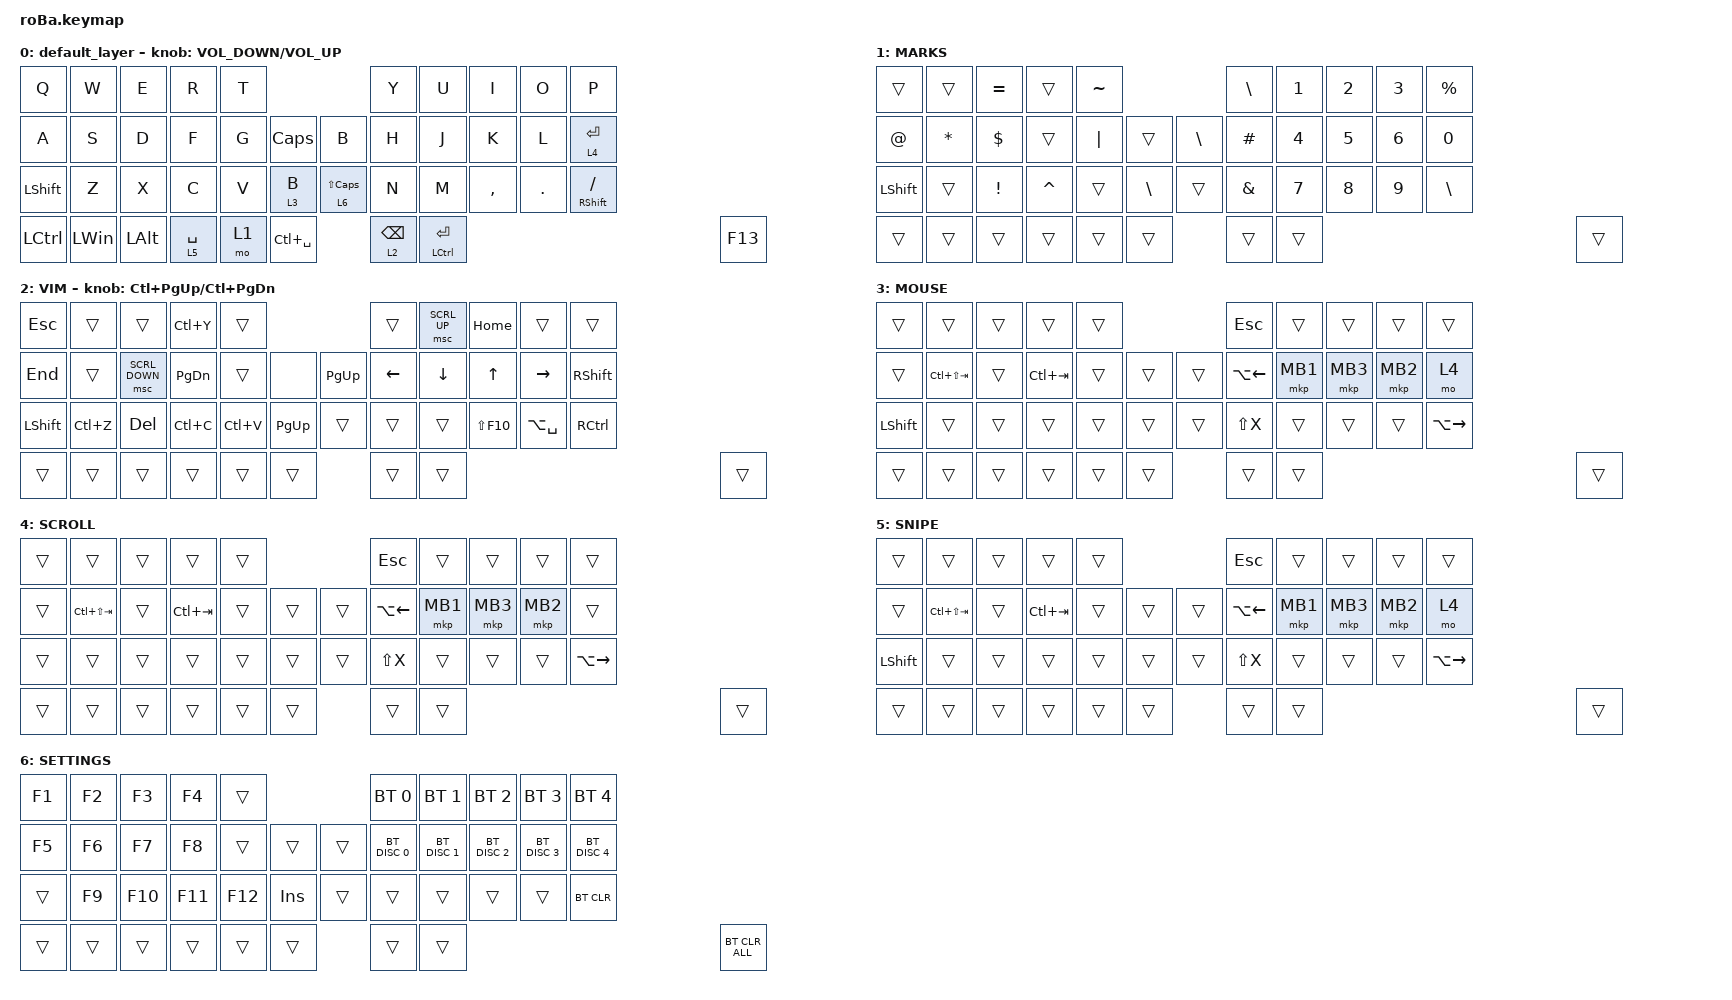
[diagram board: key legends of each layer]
#include <input/processors.dtsi>
#include <behaviors.dtsi>
#include <dt-bindings/zmk/bt.h>
#include <dt-bindings/zmk/keys.h>
#include <dt-bindings/zmk/pointing.h>

#define ZMK_POINTING_DEFAULT_SCRL_VAL 20  // default: 10, キーボードでのホイールスクロール量
#define NUM 1
#define MOUSE 3
#define SCROLL 4
#define SNIPE 5

&mt { flavor = "hold-preferred"; };

&mkp_input_listener { input-processors = <&zip_temp_layer MOUSE 150>; };

/ {
    combos {
        compatible = "zmk,combos";

        tab {
            bindings = <&kp TAB>;
            key-positions = <11 12>;
        };

        shift_tab {
            bindings = <&kp LS(TAB)>;
            key-positions = <12 13>;
        };

        esc {
            bindings = <&kp ESC>;
            key-positions = <1 10>;
        };

        minus {
            bindings = <&kp MINUS>;
            key-positions = <7 8>;
        };

        equal {
            bindings = <&kp EQUAL>;
            key-positions = <8 9>;
        };

        singlequote {
            bindings = <&kp SINGLE_QUOTE>;
            key-positions = <32 31>;
        };

        grave {
            bindings = <&kp GRAVE>;
            key-positions = <11 13>;
        };

        left_bracket {
            bindings = <&kp LEFT_BRACKET>;
            key-positions = <18 7>;
        };

        right_bracket {
            bindings = <&kp RIGHT_BRACKET>;
            key-positions = <18 19>;
        };

        ctrl+w {
            bindings = <&kp LC(W)>;
            key-positions = <30 32>;
        };

        ctrl+w2 {
            bindings = <&kp LC(W)>;
            key-positions = <26 24>;
        };

        select_all {
            bindings = <&kp LC(A)>;
            key-positions = <23 24>;
        };

        unselect_all {
            bindings = <&kp LC(LS(A))>;
            key-positions = <24 25>;
        };

        semi-coron {
            bindings = <&kp SEMI>;
            key-positions = <20 19>;
        };

        left_parentheses {
            bindings = <&kp LEFT_PARENTHESIS>;
            key-positions = <18 8>;
        };

        right_parentheses {
            bindings = <&kp RIGHT_PARENTHESIS>;
            key-positions = <18 20>;
        };

        mouse_buttons {
            bindings = <&none>;
            key-positions = <17 18 19 20 6 8 5 29 33 22 42>;
        };
    };

    macros {
        to_layer_0: to_layer_0 {
            compatible = "zmk,behavior-macro-one-param";
            #binding-cells = <1>;
            bindings = <&to 0 &macro_param_1to1 &kp MACRO_PLACEHOLDER>;
            label = "TO_LAYER_0";
        };

        exit_AML: exit_AML {
            compatible = "zmk,behavior-macro";
            wait-ms = <0>;
            tap-ms = <0>;
            #binding-cells = <0>;
            bindings = <&tog_off MOUSE>;
            label = "exit_AML";
        };

        kp_exit_AML: kp_exit_AML {
            compatible = "zmk,behavior-macro-one-param";
            wait-ms = <0>;
            tap-ms = <0>;
            #binding-cells = <1>;
            bindings = <&macro_param_1to1 &kp MACRO_PLACEHOLDER &exit_AML>;
            label = "KP_exit_AML";
        };
    };

    behaviors {
        lt_to_layer_0: lt_to_layer_0 {
            compatible = "zmk,behavior-hold-tap";
            label = "LAYER_TAP_TO_0";
            bindings = <&mo>, <&to_layer_0>;

            #binding-cells = <2>;
            tapping-term-ms = <200>;
        };

        lt_and_continue_input: lt_and_continue_input {
            compatible = "zmk,behavior-hold-tap";
            label = "LT_AND_CONTINUE_INPUT";
            bindings = <&mo>, <&kp>;

            #binding-cells = <2>;
            tapping-term-ms = <200>;
            quick-tap-ms = <300>;
            flavor = "balanced";
        };

        tog_off: toggle_layer_off {
            compatible = "zmk,behavior-toggle-layer";
            #binding-cells = <1>;
            display-name = "Toggle Layer Off";
            toggle-mode = "off";
        };

        mt_exit_AML_on_tap: mt_exit_AML_on_tap {
            compatible = "zmk,behavior-hold-tap";
            label = "MT_exit_AML_ON_TAP";
            bindings = <&kp>, <&kp_exit_AML>;

            #binding-cells = <2>;
            tapping-term-ms = <200>;
            flavor = "balanced";
            quick-tap-ms = <200>;
        };
    };

    keymap {
        compatible = "zmk,keymap";

        default_layer {
            bindings = <
&kp Q       &kp W         &kp E         &kp R        &kp T                                                  &kp Y                               &kp U            &kp I      &kp O    &kp P
&kp A       &kp S         &kp D         &kp F        &kp G  &kp CAPSLOCK     &kp B                          &kp H                               &kp J            &kp K      &kp L    &lt_to_layer_0 4 ENTER
&kp LSHIFT  &kp Z         &kp X         &kp C        &kp V  &lt 3 B          &lt_to_layer_0 6 LS(CAPSLOCK)  &kp N                               &kp M            &kp COMMA  &kp DOT  &mt_exit_AML_on_tap RIGHT_SHIFT SLASH
&kp LCTRL   &kp LEFT_WIN  &kp LEFT_ALT  &lt 5 SPACE  &mo 1  &kp LC(SPACE)                                   &lt_and_continue_input 2 BACKSPACE  &mt LCTRL ENTER                                                             &kp F13
            >;

            sensor-bindings = <&inc_dec_kp C_VOLUME_DOWN C_VOLUME_UP>;
        };

        MARKS {
            bindings = <
&trans          &trans     &kp EQUAL        &trans     &kp TILDE                                  &kp BACKSLASH  &kp NUMBER_1  &kp NUMBER_2  &kp NUMBER_3  &kp PERCENT
&kp AT          &kp ASTRK  &kp DOLLAR       &trans     &kp PIPE   &trans           &kp BACKSLASH  &kp HASH       &kp NUMBER_4  &kp N5        &kp NUMBER_6  &kp N0
&kp LEFT_SHIFT  &trans     &kp EXCLAMATION  &kp CARET  &trans     &kp BACKSLASH    &trans         &kp AMPS       &kp N7        &kp N8        &kp N9        &kp BACKSLASH
&trans          &trans     &trans           &trans     &trans     &trans                          &trans         &trans                                                   &trans
            >;
        };

        VIM {
            bindings = <
&kp ESCAPE      &trans     &trans          &kp LC(Y)      &trans                                 &trans          &msc SCRL_UP    &kp HOME      &trans         &trans
&kp END         &trans     &msc SCRL_DOWN  &kp PAGE_DOWN  &trans     &none          &kp PAGE_UP  &kp LEFT_ARROW  &kp DOWN_ARROW  &kp UP_ARROW  &kp RIGHT      &kp RIGHT_SHIFT
&kp LEFT_SHIFT  &kp LC(Z)  &kp DEL         &kp LC(C)      &kp LC(V)  &kp PAGE_UP    &trans       &trans          &trans          &kp LS(F10)   &kp LA(SPACE)  &kp RIGHT_CONTROL
&trans          &trans     &trans          &trans         &trans     &trans                      &trans          &trans                                                          &trans
            >;

            sensor-bindings = <&inc_dec_kp LC(PAGE_UP) LC(PAGE_DOWN)>;
        };

        MOUSE {
            bindings = <
&trans          &trans           &trans  &trans       &trans                    &kp ESCAPE    &trans    &trans    &trans    &trans
&trans          &kp LC(LS(TAB))  &trans  &kp LC(TAB)  &trans  &trans    &trans  &kp LA(LEFT)  &mkp MB1  &mkp MB3  &mkp MB2  &mo 4
&kp LEFT_SHIFT  &trans           &trans  &trans       &trans  &trans    &trans  &kp LS(X)     &trans    &trans    &trans    &kp LA(RIGHT_ARROW)
&trans          &trans           &trans  &trans       &trans  &trans            &trans        &trans                                             &trans
            >;
        };

        SCROLL {
            bindings = <
&trans  &trans           &trans  &trans       &trans                    &kp ESCAPE          &trans    &trans    &trans    &trans
&trans  &kp LC(LS(TAB))  &trans  &kp LC(TAB)  &trans  &trans    &trans  &kp LA(LEFT_ARROW)  &mkp MB1  &mkp MB3  &mkp MB2  &trans
&trans  &trans           &trans  &trans       &trans  &trans    &trans  &kp LS(X)           &trans    &trans    &trans    &kp LA(RIGHT_ARROW)
&trans  &trans           &trans  &trans       &trans  &trans            &trans              &trans                                             &trans
            >;
        };

        SNIPE {
            bindings = <
&trans          &trans           &trans  &trans       &trans                    &kp ESCAPE          &trans    &trans    &trans    &trans
&trans          &kp LC(LS(TAB))  &trans  &kp LC(TAB)  &trans  &trans    &trans  &kp LA(LEFT_ARROW)  &mkp MB1  &mkp MB3  &mkp MB2  &mo 4
&kp LEFT_SHIFT  &trans           &trans  &trans       &trans  &trans    &trans  &kp LS(X)           &trans    &trans    &trans    &kp LA(RIGHT_ARROW)
&trans          &trans           &trans  &trans       &trans  &trans            &trans              &trans                                             &trans
            >;
        };

        SETTINGS {
            bindings = <
&kp F1  &kp F2  &kp F3   &kp F4   &trans                      &bt BT_SEL 0   &bt BT_SEL 1   &bt BT_SEL 2   &bt BT_SEL 3   &bt BT_SEL 4
&kp F5  &kp F6  &kp F7   &kp F8   &trans   &trans     &trans  &bt BT_DISC 0  &bt BT_DISC 1  &bt BT_DISC 2  &bt BT_DISC 3  &bt BT_DISC 4
&trans  &kp F9  &kp F10  &kp F11  &kp F12  &kp INS    &trans  &trans         &trans         &trans         &trans         &bt BT_CLR
&trans  &trans  &trans   &trans   &trans   &trans             &trans         &trans                                                      &bt BT_CLR_ALL
            >;
        };
    };
};
